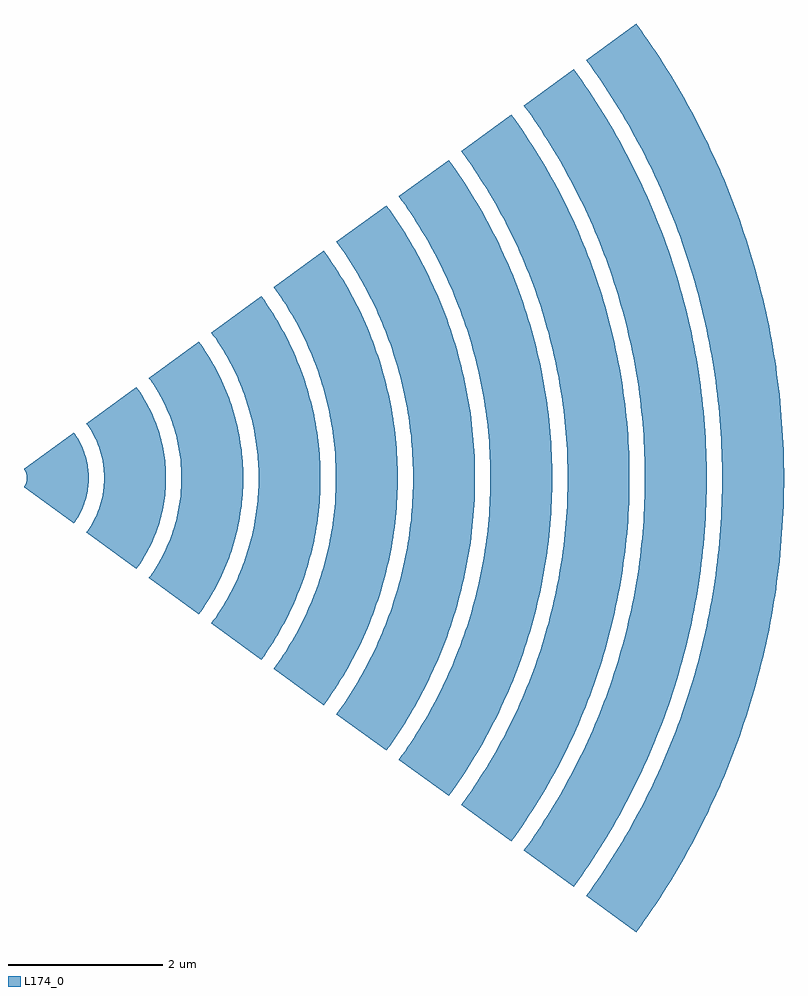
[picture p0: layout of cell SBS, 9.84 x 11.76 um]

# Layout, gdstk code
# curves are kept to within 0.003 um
import gdstk
lib = gdstk.Library(unit=1e-6, precision=1e-09)
def P(c, l, *ps):  # polygons
    for p in ps: c.add(gdstk.Polygon(p, *l))
L174_0 = (174, 0)

sbs = lib.new_cell('SBS')
P(sbs, L174_0, [(8.09,-5.878),(8.296,-5.584),(8.538,-5.206),(8.763,-4.818),(8.89,-4.58),(9.048,-4.258),(9.23,-3.848),(9.394,-3.43),(9.511,-3.09),(9.64,-2.66),(9.708,-2.4),(9.788,-2.05),(9.87,-1.609),(9.921,-1.253),(9.96,-0.896),(9.99,-0.449),(10,0),(9.2,0),(9.194,-0.335),(9.176,-0.67),(9.136,-1.087),(9.103,-1.336),(9.048,-1.666),(8.963,-2.076),(8.859,-2.482),(8.763,-2.803),(8.655,-3.12),(8.504,-3.511),(8.405,-3.742),(8.226,-4.121),(8.03,-4.491),(7.861,-4.78),(7.635,-5.133),(7.443,-5.408)],
  [(10,0),(9.99,0.449),(9.96,0.896),(9.921,1.253),(9.87,1.609),(9.788,2.05),(9.708,2.4),(9.64,2.66),(9.511,3.09),(9.394,3.43),(9.23,3.848),(9.048,4.258),(8.89,4.58),(8.763,4.818),(8.538,5.206),(8.346,5.509),(8.09,5.878),(7.443,5.408),(7.635,5.133),(7.861,4.78),(8.03,4.491),(8.226,4.121),(8.405,3.742),(8.504,3.511),(8.655,3.12),(8.763,2.803),(8.859,2.482),(8.963,2.076),(9.048,1.666),(9.103,1.336),(9.136,1.087),(9.176,0.67),(9.194,0.335),(9.2,0)],
  [(7.281,-5.29),(7.525,-4.938),(7.663,-4.721),(7.837,-4.426),(8,-4.124),(8.187,-3.739),(8.323,-3.424),(8.477,-3.024),(8.56,-2.781),(8.682,-2.371),(8.766,-2.038),(8.821,-1.787),(8.896,-1.366),(8.951,-0.941),(8.974,-0.685),(8.99,-0.428),(9,0),(8.2,0),(8.191,-0.39),(8.17,-0.702),(8.147,-0.935),(8.093,-1.321),(8.037,-1.628),(7.969,-1.933),(7.868,-2.31),(7.799,-2.534),(7.697,-2.829),(7.613,-3.048),(7.459,-3.406),(7.324,-3.688),(7.216,-3.896),(7.022,-4.234),(6.813,-4.564),(6.634,-4.82)],
  [(9,0),(8.99,0.428),(8.974,0.685),(8.951,0.941),(8.896,1.366),(8.821,1.787),(8.766,2.038),(8.682,2.371),(8.56,2.781),(8.477,3.024),(8.323,3.424),(8.187,3.739),(8,4.124),(7.837,4.426),(7.663,4.721),(7.525,4.938),(7.281,5.29),(6.634,4.82),(6.813,4.564),(7.022,4.234),(7.216,3.896),(7.324,3.688),(7.459,3.406),(7.613,3.048),(7.697,2.829),(7.799,2.534),(7.868,2.31),(7.969,1.933),(8.037,1.628),(8.093,1.321),(8.147,0.935),(8.17,0.702),(8.191,0.39),(8.2,0)],
  [(6.472,-4.702),(6.655,-4.44),(6.868,-4.103),(7.026,-3.826),(7.173,-3.543),(7.276,-3.327),(7.432,-2.96),(7.518,-2.736),(7.621,-2.434),(7.712,-2.128),(7.772,-1.897),(7.857,-1.507),(7.911,-1.192),(7.952,-0.876),(7.981,-0.558),(7.994,-0.319),(8,0),(7.2,0),(7.197,-0.219),(7.182,-0.51),(7.147,-0.873),(7.106,-1.162),(7.053,-1.449),(6.988,-1.734),(6.932,-1.946),(6.848,-2.225),(6.752,-2.501),(6.673,-2.705),(6.558,-2.973),(6.399,-3.301),(6.26,-3.558),(6.149,-3.746),(5.992,-3.993),(5.825,-4.232)],
  [(8,0),(7.994,0.319),(7.981,0.558),(7.952,0.876),(7.911,1.192),(7.857,1.507),(7.772,1.897),(7.712,2.128),(7.621,2.434),(7.518,2.736),(7.432,2.96),(7.276,3.327),(7.173,3.543),(7.026,3.826),(6.868,4.103),(6.655,4.44),(6.472,4.702),(5.825,4.232),(5.992,3.993),(6.149,3.746),(6.26,3.558),(6.399,3.301),(6.558,2.973),(6.673,2.705),(6.752,2.501),(6.848,2.225),(6.932,1.946),(6.988,1.734),(7.053,1.449),(7.106,1.162),(7.147,0.873),(7.182,0.51),(7.197,0.219),(7.2,0)],
  [(5.663,-4.114),(5.792,-3.932),(5.993,-3.618),(6.105,-3.424),(6.211,-3.228),(6.311,-3.028),(6.435,-2.756),(6.546,-2.48),(6.646,-2.199),(6.713,-1.985),(6.809,-1.625),(6.872,-1.334),(6.911,-1.113),(6.952,-0.818),(6.981,-0.521),(6.994,-0.298),(7,0),(6.2,0),(6.197,-0.201),(6.177,-0.537),(6.148,-0.804),(6.129,-0.937),(6.083,-1.201),(6.025,-1.464),(5.956,-1.723),(5.897,-1.916),(5.808,-2.17),(5.709,-2.419),(5.627,-2.603),(5.509,-2.845),(5.381,-3.081),(5.278,-3.254),(5.169,-3.424),(5.016,-3.644)],
  [(7,0),(6.994,0.298),(6.981,0.521),(6.952,0.818),(6.911,1.113),(6.872,1.334),(6.809,1.625),(6.713,1.985),(6.646,2.199),(6.546,2.48),(6.435,2.756),(6.311,3.028),(6.211,3.228),(6.105,3.424),(5.993,3.618),(5.792,3.932),(5.663,4.114),(5.016,3.644),(5.169,3.424),(5.278,3.254),(5.381,3.081),(5.509,2.845),(5.627,2.603),(5.709,2.419),(5.808,2.17),(5.897,1.916),(5.956,1.723),(6.025,1.464),(6.083,1.201),(6.129,0.937),(6.148,0.804),(6.177,0.537),(6.197,0.201),(6.2,0)],
  [(4.854,-3.527),(5.013,-3.297),(5.125,-3.12),(5.265,-2.878),(5.362,-2.693),(5.453,-2.504),(5.563,-2.248),(5.662,-1.986),(5.728,-1.788),(5.786,-1.587),(5.854,-1.316),(5.909,-1.042),(5.942,-0.835),(5.974,-0.558),(5.99,-0.349),(6,0),(5.2,0),(5.197,-0.181),(5.183,-0.423),(5.172,-0.544),(5.141,-0.784),(5.099,-1.022),(5.06,-1.199),(5.031,-1.317),(4.964,-1.549),(4.907,-1.722),(4.844,-1.892),(4.726,-2.17),(4.647,-2.334),(4.563,-2.495),(4.442,-2.704),(4.311,-2.908),(4.207,-3.056)],
  [(6,0),(5.99,0.349),(5.974,0.558),(5.942,0.835),(5.909,1.042),(5.854,1.316),(5.786,1.587),(5.728,1.788),(5.662,1.986),(5.563,2.248),(5.453,2.504),(5.362,2.693),(5.265,2.878),(5.125,3.12),(5.013,3.297),(4.854,3.527),(4.207,3.056),(4.311,2.908),(4.442,2.704),(4.563,2.495),(4.647,2.334),(4.726,2.17),(4.844,1.892),(4.907,1.722),(4.964,1.549),(5.031,1.317),(5.06,1.199),(5.099,1.022),(5.141,0.784),(5.172,0.544),(5.183,0.423),(5.197,0.181),(5.2,0)],
  [(4.045,-2.939),(4.155,-2.781),(4.259,-2.619),(4.357,-2.454),(4.477,-2.227),(4.559,-2.053),(4.635,-1.876),(4.725,-1.636),(4.765,-1.515),(4.82,-1.33),(4.882,-1.081),(4.941,-0.766),(4.967,-0.576),(4.99,-0.32),(5,0),(4.2,0),(4.197,-0.162),(4.188,-0.323),(4.166,-0.537),(4.142,-0.697),(4.089,-0.961),(4.049,-1.117),(4.003,-1.272),(3.951,-1.425),(3.873,-1.626),(3.736,-1.919),(3.66,-2.061),(3.578,-2.2),(3.398,-2.469)],
  [(5,0),(4.99,0.32),(4.967,0.576),(4.941,0.766),(4.882,1.081),(4.82,1.33),(4.765,1.515),(4.725,1.636),(4.635,1.876),(4.559,2.053),(4.477,2.227),(4.357,2.454),(4.259,2.619),(4.155,2.781),(4.045,2.939),(3.398,2.469),(3.578,2.2),(3.66,2.061),(3.736,1.919),(3.873,1.626),(3.951,1.425),(4.003,1.272),(4.049,1.117),(4.089,0.961),(4.142,0.697),(4.166,0.537),(4.188,0.323),(4.197,0.162),(4.2,0)],
  [(3.236,-2.351),(3.394,-2.117),(3.508,-1.922),(3.561,-1.822),(3.68,-1.567),(3.744,-1.409),(3.8,-1.249),(3.879,-0.978),(3.938,-0.702),(3.978,-0.423),(3.992,-0.254),(4,-0.028),(3.992,0.254),(3.978,0.423),(3.956,0.591),(3.928,0.758),(3.879,0.978),(3.8,1.249),(3.744,1.409),(3.68,1.567),(3.561,1.822),(3.508,1.922),(3.394,2.117),(3.236,2.351),(2.589,1.881),(2.739,1.655),(2.849,1.458),(2.962,1.212),(3.04,1),(3.114,0.739),(3.158,0.517),(3.187,0.293),(3.2,0.023),(3.194,-0.203),(3.165,-0.473),(3.114,-0.739),(3.054,-0.957),(2.962,-1.212),(2.849,-1.458),(2.739,-1.655),(2.589,-1.881)],
  [(2.427,-1.763),(2.563,-1.56),(2.659,-1.389),(2.744,-1.213),(2.834,-0.985),(2.905,-0.751),(2.956,-0.512),(2.988,-0.269),(3,-0.024),(2.992,0.22),(2.964,0.463),(2.938,0.608),(2.905,0.751),(2.849,0.939),(2.782,1.123),(2.724,1.257),(2.659,1.389),(2.563,1.56),(2.427,1.763),(1.78,1.293),(1.879,1.144),(1.95,1.019),(2.04,0.823),(2.09,0.688),(2.139,0.516),(2.174,0.34),(2.194,0.161),(2.2,0.018),(2.194,-0.161),(2.174,-0.34),(2.139,-0.516),(2.09,-0.688),(2.04,-0.823),(1.95,-1.019),(1.879,-1.144),(1.78,-1.293)],
  [(1.618,-1.176),(1.707,-1.043),(1.766,-0.939),(1.819,-0.832),(1.893,-0.646),(1.948,-0.455),(1.978,-0.298),(1.992,-0.179),(2,-0.02),(1.998,0.1),(1.978,0.298),(1.948,0.455),(1.905,0.609),(1.851,0.758),(1.784,0.904),(1.707,1.043),(1.618,1.176),(0.971,0.705),(1.024,0.626),(1.071,0.542),(1.136,0.388),(1.179,0.226),(1.193,0.131),(1.2,0.012),(1.199,-0.06),(1.187,-0.179),(1.169,-0.273),(1.136,-0.388),(1.071,-0.542),(1.024,-0.626),(0.971,-0.705)],
  [(0.809,-0.588),(0.871,-0.492),(0.91,-0.415),(0.942,-0.336),(0.98,-0.199),(0.99,-0.142),(1,-0.029),(1,0.029),(0.99,0.142),(0.974,0.226),(0.951,0.309),(0.91,0.415),(0.884,0.467),(0.809,0.588),(0.162,0.118),(0.19,0.062),(0.2,0.011),(0.199,-0.023),(0.192,-0.056),(0.162,-0.118)])

lib.write_gds('SBS.gds')
